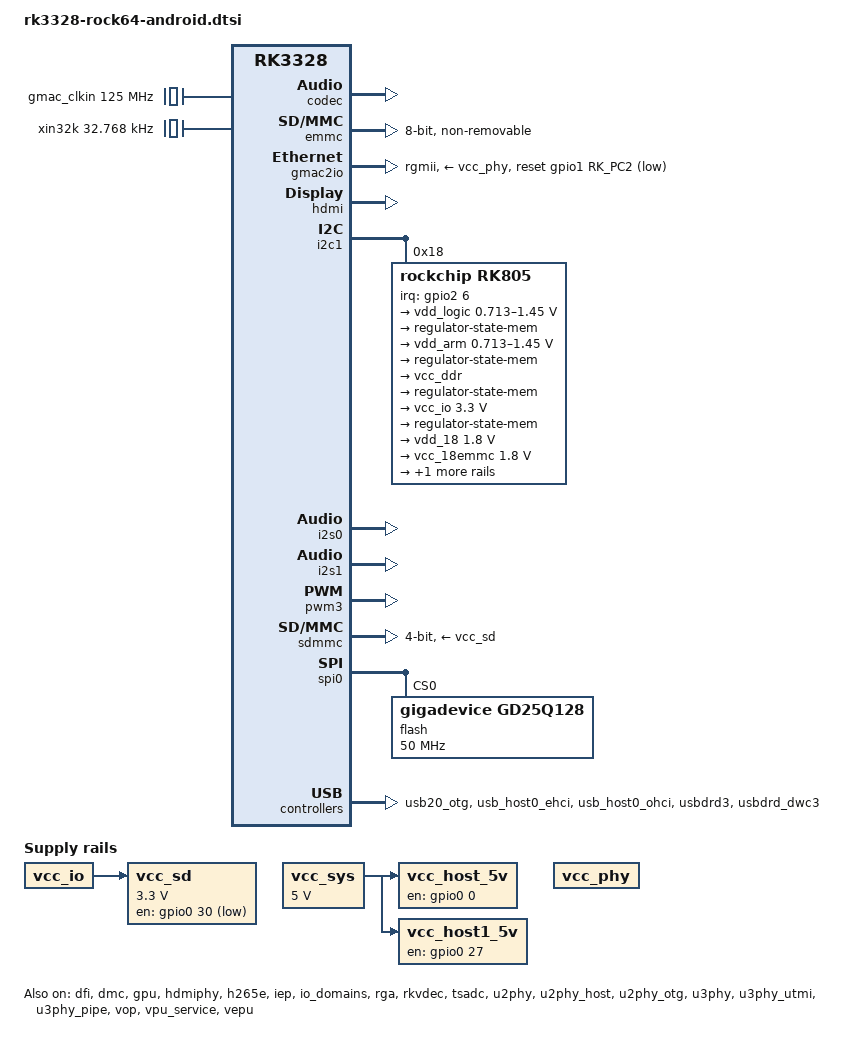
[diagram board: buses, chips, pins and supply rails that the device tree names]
// SPDX-License-Identifier: (GPL-2.0+ OR MIT)
/*
 * Copyright (c) 2017 Fuzhou Rockchip Electronics Co., Ltd
 *
 */

#include "rk3328.dtsi"
#include "rk3328-android.dtsi"
#include <dt-bindings/input/input.h>

/ {
	gmac_clkin: external-gmac-clock {
		compatible = "fixed-clock";
		clock-frequency = <125000000>;
		clock-output-names = "gmac_clkin";
		#clock-cells = <0>;
	};

	vcc_sd: sdmmc-regulator {
		compatible = "regulator-fixed";
		gpio = <&gpio0 30 GPIO_ACTIVE_LOW>;
		pinctrl-names = "default";
		pinctrl-0 = <&sdmmc0m1_gpio>;
		regulator-name = "vcc_sd";
		regulator-min-microvolt = <3300000>;
		regulator-max-microvolt = <3300000>;
		vin-supply = <&vcc_io>;
	};

	vcc_host_5v: vcc-host-5v-regulator {
		compatible = "regulator-fixed";
		enable-active-high;
		gpio = <&gpio0 0 GPIO_ACTIVE_HIGH>;
		pinctrl-names = "default";
		pinctrl-0 = <&usb30_host_drv>;
		regulator-name = "vcc_host_5v";
		regulator-always-on;
		vin-supply = <&vcc_sys>;
	};

	vcc_host1_5v: vcc_otg_5v: vcc-host1-5v-regulator {
		compatible = "regulator-fixed";
		enable-active-high;
		gpio = <&gpio0 27 GPIO_ACTIVE_HIGH>;
		pinctrl-names = "default";
		pinctrl-0 = <&usb20_host_drv>;
		regulator-name = "vcc_host1_5v";
		regulator-always-on;
		vin-supply = <&vcc_sys>;
	};

	vcc_sys: vcc-sys {
		compatible = "regulator-fixed";
		regulator-name = "vcc_sys";
		regulator-always-on;
		regulator-boot-on;
		regulator-min-microvolt = <5000000>;
		regulator-max-microvolt = <5000000>;
	};

	sound {
		compatible = "simple-audio-card";
		simple-audio-card,format = "i2s";
		simple-audio-card,mclk-fs = <256>;
		simple-audio-card,name = "rockchip-rk3328";
		simple-audio-card,cpu {
			sound-dai = <&i2s1>;
		};
		simple-audio-card,codec {
			sound-dai = <&codec>;
		};
	};

	hdmi-sound {
		compatible = "simple-audio-card";
		simple-audio-card,format = "i2s";
		simple-audio-card,mclk-fs = <128>;
		simple-audio-card,name = "rockchip-hdmi";
		simple-audio-card,cpu {
			sound-dai = <&i2s0>;
		};
		simple-audio-card,codec {
			sound-dai = <&hdmi>;
		};
	};

	vcc_phy: vcc-phy-regulator {
		compatible = "regulator-fixed";
		regulator-name = "vcc_phy";
		regulator-always-on;
		regulator-boot-on;
	};

	xin32k: xin32k {
		compatible = "fixed-clock";
		clock-frequency = <32768>;
		clock-output-names = "xin32k";
		#clock-cells = <0>;
	};
};

&codec {
	#sound-dai-cells = <0>;
	status = "okay";
};

&cpu0 {
	cpu-supply = <&vdd_arm>;
};

&dfi {
	status = "okay";
};

&dmc {
	center-supply = <&vdd_logic>;
	status = "okay";
};

&emmc {
	bus-width = <8>;
	cap-mmc-highspeed;
	mmc-hs200-1_8v;
	supports-emmc;
	disable-wp;
	non-removable;
	num-slots = <1>;
	pinctrl-names = "default";
	pinctrl-0 = <&emmc_clk &emmc_cmd &emmc_bus8>;
	status = "okay";
};

&gmac2io {
	phy-supply = <&vcc_phy>;
	phy-mode = "rgmii";
	clock_in_out = "input";
	snps,reset-gpio = <&gpio1 RK_PC2 GPIO_ACTIVE_LOW>;
	snps,reset-active-low;
	snps,reset-delays-us = <0 10000 50000>;
	assigned-clocks = <&cru SCLK_MAC2IO>, <&cru SCLK_MAC2IO_EXT>;
	assigned-clock-parents = <&gmac_clkin>, <&gmac_clkin>;
	pinctrl-names = "default";
	pinctrl-0 = <&rgmiim1_pins>;
	tx_delay = <0x26>;
	rx_delay = <0x11>;
	status = "okay";
};

&gmac2phy {
	phy-supply = <&vcc_phy>;
	clock_in_out = "output";
	assigned-clocks = <&cru SCLK_MAC2PHY_SRC>;
	assigned-clock-rate = <50000000>;
	assigned-clocks = <&cru SCLK_MAC2PHY>;
	assigned-clock-parents = <&cru SCLK_MAC2PHY_SRC>;
	status = "disabled";
};

&gpu {
	status = "okay";
	mali-supply = <&vdd_logic>;
};

&hdmi {
	#sound-dai-cells = <0>;
	status = "okay";
};

&hdmiphy {
	status = "okay";
};

&i2c1 {
	status = "okay";

	rk805: rk805@18 {
		compatible = "rockchip,rk805";
		status = "okay";
		reg = <0x18>;
		interrupt-parent = <&gpio2>;
		interrupts = <6 IRQ_TYPE_LEVEL_LOW>;
		pinctrl-names = "default";
		pinctrl-0 = <&pmic_int_l>;
		wakeup-source;
		gpio-controller;
		#gpio-cells = <2>;
		#clock-cells = <1>;
		clock-output-names = "rk805-clkout1", "rk805-clkout2";

		rtc {
			status = "okay";
		};

		pwrkey {
			status = "disabled";
		};

		gpio {
			status = "okay";
		};

		regulators {
			compatible = "rk805-regulator";
			status = "okay";
			#address-cells = <1>;
			#size-cells = <0>;

			vdd_logic: RK805_DCDC1 {
				regulator-compatible = "RK805_DCDC1";
				regulator-name = "vdd_logic";
				regulator-min-microvolt = <712500>;
				regulator-max-microvolt = <1450000>;
				regulator-initial-mode = <0x1>;
				regulator-ramp-delay = <12500>;
				regulator-boot-on;
				regulator-always-on;
				regulator-state-mem {
					regulator-mode = <0x2>;
					regulator-on-in-suspend;
					regulator-suspend-microvolt = <1000000>;
				};
			};

			vdd_arm: RK805_DCDC2 {
				regulator-compatible = "RK805_DCDC2";
				regulator-name = "vdd_arm";
				regulator-init-microvolt = <1225000>;
				regulator-min-microvolt = <712500>;
				regulator-max-microvolt = <1450000>;
				regulator-initial-mode = <0x1>;
				regulator-ramp-delay = <12500>;
				regulator-boot-on;
				regulator-always-on;
				regulator-state-mem {
					regulator-mode = <0x2>;
					regulator-on-in-suspend;
					regulator-suspend-microvolt = <950000>;
				};
			};

			vcc_ddr: RK805_DCDC3 {
				regulator-compatible = "RK805_DCDC3";
				regulator-name = "vcc_ddr";
				regulator-initial-mode = <0x1>;
				regulator-boot-on;
				regulator-always-on;
				regulator-state-mem {
					regulator-mode = <0x2>;
					regulator-on-in-suspend;
				};
			};

			vcc_io: RK805_DCDC4 {
				regulator-compatible = "RK805_DCDC4";
				regulator-name = "vcc_io";
				regulator-min-microvolt = <3300000>;
				regulator-max-microvolt = <3300000>;
				regulator-initial-mode = <0x1>;
				regulator-boot-on;
				regulator-always-on;
				regulator-state-mem {
					regulator-mode = <0x2>;
					regulator-on-in-suspend;
					regulator-suspend-microvolt = <3300000>;
				};
			};

			vdd_18: RK805_LDO1 {
				regulator-compatible = "RK805_LDO1";
				regulator-name = "vdd_18";
				regulator-min-microvolt = <1800000>;
				regulator-max-microvolt = <1800000>;
				regulator-boot-on;
				regulator-always-on;
				regulator-state-mem {
					regulator-on-in-suspend;
					regulator-suspend-microvolt = <1800000>;
				};
			};

			vcc_18emmc: RK805_LDO2 {
				regulator-compatible = "RK805_LDO2";
				regulator-name = "vcc_18emmc";
				regulator-min-microvolt = <1800000>;
				regulator-max-microvolt = <1800000>;
				regulator-boot-on;
				regulator-always-on;
				regulator-state-mem {
					regulator-on-in-suspend;
					regulator-suspend-microvolt = <1800000>;
				};
			};

			vdd_11: RK805_LDO3 {
				regulator-compatible = "RK805_LDO3";
				regulator-name = "vdd_11";
				regulator-min-microvolt = <1100000>;
				regulator-max-microvolt = <1100000>;
				regulator-boot-on;
				regulator-always-on;
				regulator-state-mem {
					regulator-on-in-suspend;
					regulator-suspend-microvolt = <1100000>;
				};
			};
		};
	};
};

&h265e {
	status = "okay";
};

&i2s0 {
	#sound-dai-cells = <0>;
	rockchip,bclk-fs = <128>;
	status = "okay";
};

&i2s1 {
	#sound-dai-cells = <0>;
	status = "okay";
};

&iep {
	status = "okay";
};

&iep_mmu {
	status = "okay";
};

&io_domains {
	status = "okay";

	vccio1-supply = <&vcc_io>;
	vccio2-supply = <&vcc_18emmc>;
	vccio3-supply = <&vcc_io>;
	vccio4-supply = <&vdd_18>;
	vccio5-supply = <&vcc_io>;
	vccio6-supply = <&vcc_io>;
	pmuio-supply = <&vcc_io>;
};

&pinctrl {
	pmic {
		pmic_int_l: pmic-int-l {
			rockchip,pins = <2 6 RK_FUNC_GPIO &pcfg_pull_up>;
		};
	};

	usb2 {
		usb20_host_drv: usb20-host-drv {
			rockchip,pins = <0 27 RK_FUNC_GPIO &pcfg_pull_none>;
		};
	};

	usb3 {
		usb30_host_drv: usb30-host-drv {
			rockchip,pins = <0 0 RK_FUNC_GPIO &pcfg_pull_none>;
		};
	};
};

&pwm3 {
	status = "okay";
	pinctrl-names = "default";
	pinctrl-0 = <&pwmir_pin>;
	compatible = "rockchip,remotectl-pwm";
	remote_pwm_id = <3>;
	handle_cpu_id = <1>;
	remote_support_psci = <1>;

	ir_key1 {
		rockchip,usercode = <0x4040>;
		rockchip,key_table =
			<0xf2	KEY_REPLY>,
			<0xba	KEY_BACK>,
			<0xf4	KEY_UP>,
			<0xf1	KEY_DOWN>,
			<0xef	KEY_LEFT>,
			<0xee	KEY_RIGHT>,
			<0xbd	KEY_HOME>,
			<0xea	KEY_VOLUMEUP>,
			<0xe3	KEY_VOLUMEDOWN>,
			<0xe2	KEY_SEARCH>,
			<0xb2	KEY_POWER>,
			<0xbc	KEY_MUTE>,
			<0xec	KEY_MENU>,
			<0xbf	0x190>,
			<0xe0	0x191>,
			<0xe1	0x192>,
			<0xe9	183>,
			<0xe6	248>,
			<0xe8	185>,
			<0xe7	186>,
			<0xf0	388>,
			<0xbe	0x175>;
	};

	ir_key2 {
		rockchip,usercode = <0xff00>;
		rockchip,key_table =
			<0xf9	KEY_HOME>,
			<0xbf	KEY_BACK>,
			<0xfb	KEY_MENU>,
			<0xaa	KEY_REPLY>,
			<0xb9	KEY_UP>,
			<0xe9	KEY_DOWN>,
			<0xb8	KEY_LEFT>,
			<0xea	KEY_RIGHT>,
			<0xeb	KEY_VOLUMEDOWN>,
			<0xef	KEY_VOLUMEUP>,
			<0xf7	KEY_MUTE>,
			<0xe7	KEY_POWER>,
			<0xfc	KEY_POWER>,
			<0xa9	KEY_VOLUMEDOWN>,
			<0xa8	KEY_PLAYPAUSE>,
			<0xe0	KEY_VOLUMEDOWN>,
			<0xa5	KEY_VOLUMEDOWN>,
			<0xab	183>,
			<0xb7	388>,
			<0xe8	388>,
			<0xf8	184>,
			<0xaf	185>,
			<0xed	KEY_VOLUMEDOWN>,
			<0xee	186>,
			<0xb3	KEY_VOLUMEDOWN>,
			<0xf1	KEY_VOLUMEDOWN>,
			<0xf2	KEY_VOLUMEDOWN>,
			<0xf3	KEY_SEARCH>,
			<0xb4	KEY_VOLUMEDOWN>,
			<0xa4	KEY_SETUP>,
			<0xbe	KEY_SEARCH>;
	};

	ir_key3 {
		rockchip,usercode = <0x1dcc>;
		rockchip,key_table =
			<0xee	KEY_REPLY>,
			<0xf0	KEY_BACK>,
			<0xf8	KEY_UP>,
			<0xbb	KEY_DOWN>,
			<0xef	KEY_LEFT>,
			<0xed	KEY_RIGHT>,
			<0xfc	KEY_HOME>,
			<0xf1	KEY_VOLUMEUP>,
			<0xfd	KEY_VOLUMEDOWN>,
			<0xb7	KEY_SEARCH>,
			<0xff	KEY_POWER>,
			<0xf3	KEY_MUTE>,
			<0xbf	KEY_MENU>,
			<0xf9	0x191>,
			<0xf5	0x192>,
			<0xb3	388>,
			<0xbe	KEY_1>,
			<0xba	KEY_2>,
			<0xb2	KEY_3>,
			<0xbd	KEY_4>,
			<0xf9	KEY_5>,
			<0xb1	KEY_6>,
			<0xfc	KEY_7>,
			<0xf8	KEY_8>,
			<0xb0	KEY_9>,
			<0xb6	KEY_0>,
			<0xb5	KEY_BACKSPACE>;
	};
};

&rga {
	status = "okay";
};

&rkvdec {
	status = "okay";
	vcodec-supply = <&vdd_logic>;
};

&rockchip_suspend {
	status = "okay";
	rockchip,virtual-poweroff = <1>;
};

&sdmmc {
	bus-width = <4>;
	cap-mmc-highspeed;
	cap-sd-highspeed;
	disable-wp;
	max-frequency = <150000000>;
	num-slots = <1>;
	pinctrl-names = "default";
	pinctrl-0 = <&sdmmc0_clk &sdmmc0_cmd &sdmmc0_dectn &sdmmc0_bus4>;
	supports-sd;
	status = "okay";
	vmmc-supply = <&vcc_sd>;
};

&spi0 {
	status = "okay";

	flash@0 {
		compatible = "gigadevice,gd25q128", "jedec,spi-nor";
		#address-cells = <1>;
		#size-cells = <1>;
		reg = <0>;
		m25p,fast-read;
		/* The max SCLK of the flash 104/80 MHZ  */
		spi-max-frequency = <50000000>;
	};
};

&threshold {
	temperature = <90000>; /* millicelsius */
};

&target {
	temperature = <105000>; /* millicelsius */
};

&soc_crit {
	temperature = <115000>; /* millicelsius */
};

&tsadc {
	rockchip,hw-tshut-temp = <120000>;
	status = "okay";
};

&u2phy {
	status = "okay";

};

&u2phy_host {
	phy-supply = <&vcc_host1_5v>;
	status = "okay";
};

&u2phy_otg {
	phy-supply = <&vcc_otg_5v>;
	status = "okay";
};

&u3phy {
	phy-supply = <&vcc_host_5v>;
	status = "okay";
};

&u3phy_utmi {
	status = "okay";
};

&u3phy_pipe {
	status = "okay";
};

&usb20_otg {
	status = "okay";
};

&usb_host0_ehci {
	status = "okay";
};

&usb_host0_ohci {
	status = "okay";
};

&usbdrd3 {
	status = "okay";
};

&usbdrd_dwc3 {
	status = "okay";
};

&vop {
	status = "okay";
};

&vop_mmu {
	status = "okay";
};

&vpu_service {
	status = "okay";
};

&vepu {
	status = "okay";
};
